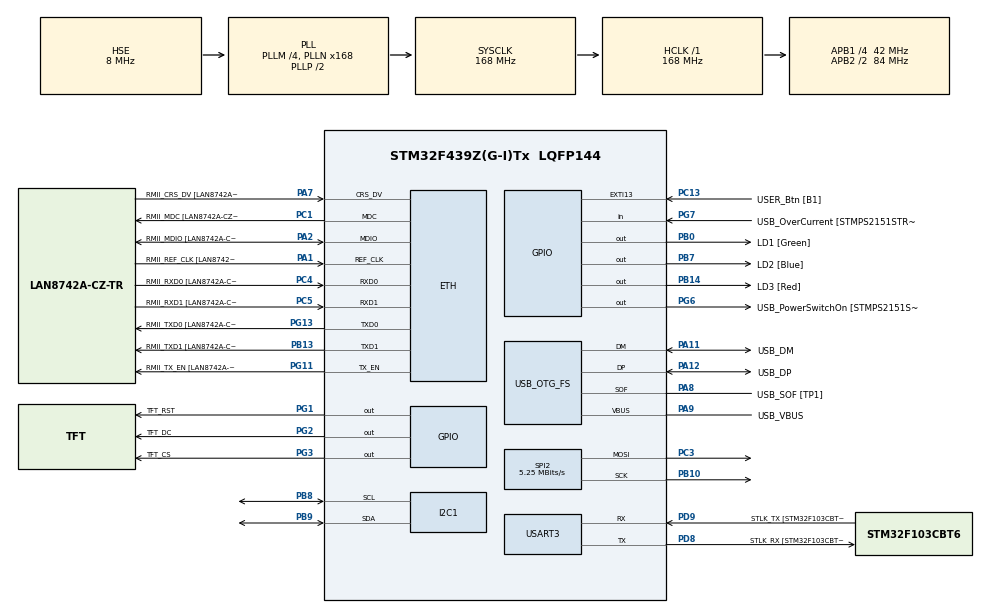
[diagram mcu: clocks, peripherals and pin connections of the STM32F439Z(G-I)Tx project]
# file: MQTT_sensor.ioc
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ETH.MediaInterface=HAL_ETH_RMII_MODE
ETH.PHY_Name=LAN8742A_PHY_ADDRESS
ETH.PHY_Value=0
ETH.PhyAddress=0
LWIP.BSP.number=1
LWIP.LWIP_DNS=1
LWIP.MEM_SIZE=16384
LWIP.TCP_WND=8192
LWIP.Version=v2.1.2_Cube
LWIP0.BSP.STBoard=false
LWIP0.BSP.api=BSP_COMPONENT_DRIVER
LWIP0.BSP.component=LAN8742
LWIP0.BSP.instance=LAN8742
LWIP0.BSP.name=Driver_PHY
LWIP0.BSP.semaphore=S_LAN8742
LWIP0.BSP.solution=LAN8742
Mcu.Family=STM32F4
Mcu.Name=STM32F439Z(G-I)Tx
Mcu.Package=LQFP144
NVIC.PriorityGroup=NVIC_PRIORITYGROUP_4
NVIC.TIM3_IRQn=true\:10\:0\:true\:false\:true\:true\:true\:true
NVIC.USART3_IRQn=true\:0\:0\:false\:false\:true\:true\:true\:true
PA1.GPIO_Label=RMII_REF_CLK [LAN8742A-CZ-TR_REFCLK0]
PA1.Mode=RMII
PA1.Signal=ETH_REF_CLK
PA10.GPIO_Label=USB_ID
PA10.Signal=USB_OTG_FS_ID
PA11.GPIO_Label=USB_DM
PA11.Mode=Device_Only
PA11.Signal=USB_OTG_FS_DM
PA12.GPIO_Label=USB_DP
PA12.Mode=Device_Only
PA12.Signal=USB_OTG_FS_DP
PA13.GPIO_Label=TMS
PA13.Mode=Serial_Wire
PA13.Signal=SYS_JTMS-SWDIO
PA14.GPIO_Label=TCK
PA14.Mode=Serial_Wire
PA14.Signal=SYS_JTCK-SWCLK
PA2.GPIO_Label=RMII_MDIO [LAN8742A-CZ-TR_MDIO]
PA2.Mode=RMII
PA2.Signal=ETH_MDIO
PA7.GPIO_Label=RMII_CRS_DV [LAN8742A-CZ-TR_CRS_DV]
PA7.Mode=RMII
PA7.Signal=ETH_CRS_DV
PA8.GPIO_Label=USB_SOF [TP1]
PA8.Mode=Activate_SOF_FS
PA8.Signal=USB_OTG_FS_SOF
PA9.GPIO_Label=USB_VBUS
PA9.Mode=Activate_VBUS
PA9.Signal=USB_OTG_FS_VBUS
PB0.GPIO_Label=LD1 [Green]
PB0.Signal=GPIO_Output
PB10.Mode=TX_Only_Simplex_Unidirect_Master
PB10.Signal=SPI2_SCK
PB13.GPIO_Label=RMII_TXD1 [LAN8742A-CZ-TR_TXD1]
PB13.Mode=RMII
PB13.Signal=ETH_TXD1
PB14.GPIO_Label=LD3 [Red]
PB14.Signal=GPIO_Output
PB7.GPIO_Label=LD2 [Blue]
PB7.Signal=GPIO_Output
PB8.Mode=I2C
PB8.Signal=I2C1_SCL
PB9.Mode=I2C
PB9.Signal=I2C1_SDA
PC1.GPIO_Label=RMII_MDC [LAN8742A-CZ-TR_MDC]
PC1.Mode=RMII
PC1.Signal=ETH_MDC
PC13.GPIO_Label=USER_Btn [B1]
PC13.Signal=GPXTI13
PC14/OSC32_IN.Mode=LSE-External-Oscillator
PC14/OSC32_IN.Signal=RCC_OSC32_IN
PC15/OSC32_OUT.Mode=LSE-External-Oscillator
PC15/OSC32_OUT.Signal=RCC_OSC32_OUT
PC2.Signal=SPI2_MISO
PC3.Mode=TX_Only_Simplex_Unidirect_Master
PC3.Signal=SPI2_MOSI
PC4.GPIO_Label=RMII_RXD0 [LAN8742A-CZ-TR_RXD0]
PC4.Mode=RMII
PC4.Signal=ETH_RXD0
PC5.GPIO_Label=RMII_RXD1 [LAN8742A-CZ-TR_RXD1]
PC5.Mode=RMII
PC5.Signal=ETH_RXD1
PD8.GPIO_Label=STLK_RX [STM32F103CBT6_PA3]
PD8.Mode=Asynchronous
PD8.Signal=USART3_TX
PD9.GPIO_Label=STLK_TX [STM32F103CBT6_PA2]
PD9.Mode=Asynchronous
PD9.Signal=USART3_RX
PG1.GPIO_Label=TFT_RST
PG1.Signal=GPIO_Output
PG11.GPIO_Label=RMII_TX_EN [LAN8742A-CZ-TR_TXEN]
PG11.Mode=RMII
PG11.Signal=ETH_TX_EN
PG13.GPIO_Label=RMII_TXD0 [LAN8742A-CZ-TR_TXD0]
PG13.Mode=RMII
PG13.Signal=ETH_TXD0
PG2.GPIO_Label=TFT_DC
PG2.Signal=GPIO_Output
PG3.GPIO_Label=TFT_CS
PG3.Signal=GPIO_Output
PG6.GPIO_Label=USB_PowerSwitchOn [STMPS2151STR_EN]
PG6.Signal=GPIO_Output
PG7.GPIO_Label=USB_OverCurrent [STMPS2151STR_FAULT]
PG7.Signal=GPIO_Input
PH0/OSC_IN.GPIO_Label=MCO [STM32F103CBT6_PA8]
PH0/OSC_IN.Mode=HSE-External-Clock-Source
PH0/OSC_IN.Signal=RCC_OSC_IN
PH1/OSC_OUT.Mode=HSE-External-Clock-Source
PH1/OSC_OUT.Signal=RCC_OSC_OUT
ProjectManager.HeapSize=0x200
ProjectManager.StackSize=0x400
ProjectManager.TargetToolchain=STM32CubeIDE
RCC.48MHZClocksFreq_Value=48000000
RCC.AHBFreq_Value=168000000
RCC.APB1CLKDivider=RCC_HCLK_DIV4
RCC.APB1Freq_Value=42000000
RCC.APB1TimFreq_Value=84000000
RCC.APB2CLKDivider=RCC_HCLK_DIV2
RCC.APB2Freq_Value=84000000
RCC.APB2TimCLKDivider=2
RCC.APB2TimFreq_Value=168000000
RCC.CortexFreq_Value=168000000
RCC.HCLKFreq_Value=168000000
RCC.HSE_VALUE=8000000
RCC.HSI_VALUE=16000000
RCC.PLLM=4
RCC.PLLMUL=RCC_PLL_MUL9
RCC.PLLN=168
RCC.PLLQ=7
RCC.PRESCALERUSB=RCC_USBCLKSOURCE_PLL_DIV1_5
RCC.SYSCLKFreq_VALUE=168000000
RCC.SYSCLKSource=RCC_SYSCLKSOURCE_PLLCLK
RCC.SYSCLKSourceVirtual=RCC_SYSCLKSOURCE_PLLCLK
RCC.USBFreq_Value=48000000
RCC.VCOOutputFreq_Value=336000000
SPI2.BaudRatePrescaler=SPI_BAUDRATEPRESCALER_8
SPI2.CalculateBaudRate=5.25 MBits/s
SPI2.Direction=SPI_DIRECTION_2LINES
SPI2.Mode=SPI_MODE_MASTER
SPI2.VirtualType=VM_MASTER
TIM3.Period=999
TIM3.Prescaler=83
USART3.VirtualMode=VM_ASYNC
USB_OTG_FS.VirtualMode=Device_Only
VP_LWIP_VS_Enabled.Mode=Enabled
VP_TIM3_VS_ClockSourceINT.Mode=Internal
board=NUCLEO-F439ZI

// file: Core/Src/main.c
/* USER CODE BEGIN Header */
/**
  ******************************************************************************
  * @file           : main.c
  * @brief          : Main program body
  ******************************************************************************
  * @attention
  *
  * Copyright (c) 2026 STMicroelectronics.
  * All rights reserved.
  *
  * This software is licensed under terms that can be found in the LICENSE file
  * in the root directory of this software component.
  * If no LICENSE file comes with this software, it is provided AS-IS.
  *
  ******************************************************************************
  */
/* USER CODE END Header */
#include "main.h"
#include "lwip.h"

/* USER CODE BEGIN Includes */
#include "lwip/apps/mqtt.h"
#include "lwip/dns.h"
#include "string.h"
#include <stdio.h>

#include "mqtt_app.h"
#include "cli.h"
#include "ili9341.h"

/* USER CODE END Includes */

I2C_HandleTypeDef hi2c1;

SPI_HandleTypeDef hspi2;

TIM_HandleTypeDef htim3;

UART_HandleTypeDef huart3;

PCD_HandleTypeDef hpcd_USB_OTG_FS;

void SystemClock_Config(void);
static void MX_GPIO_Init(void);
static void MX_USART3_UART_Init(void);
static void MX_USB_OTG_FS_PCD_Init(void);
static void MX_TIM3_Init(void);
static void MX_I2C1_Init(void);
static void MX_SPI2_Init(void);

int main(void)
{

  /* MCU Configuration--------------------------------------------------------*/

  /* Reset of all peripherals, Initializes the Flash interface and the Systick. */
  HAL_Init();

  /* USER CODE BEGIN Init */
  __HAL_RCC_GPIOB_CLK_ENABLE();
    GPIO_InitTypeDef GPIO_InitStruct = {0};
    GPIO_InitStruct.Pin = GPIO_PIN_0|GPIO_PIN_7|GPIO_PIN_14;
    GPIO_InitStruct.Mode = GPIO_MODE_OUTPUT_PP;
    GPIO_InitStruct.Pull = GPIO_NOPULL;
    GPIO_InitStruct.Speed = GPIO_SPEED_FREQ_LOW;
    HAL_GPIO_Init(GPIOB, &GPIO_InitStruct);

    HAL_GPIO_WritePin(GPIOB, GPIO_PIN_0|GPIO_PIN_7|GPIO_PIN_14, GPIO_PIN_SET);

  /* USER CODE END Init */

  /* Configure the system clock */
  SystemClock_Config();

  /* Initialize all configured peripherals */
  MX_GPIO_Init();
  MX_USART3_UART_Init();
  MX_USB_OTG_FS_PCD_Init();
  MX_LWIP_Init();
  MX_TIM3_Init();
  MX_I2C1_Init();
  MX_SPI2_Init();
  /* USER CODE BEGIN 2 */

  CLI_Init();
  HAL_TIM_Base_Start_IT(&htim3);

  ILI9341_Init(&hspi2);

      	  ILI9341_FillScreen(ILI9341_BLACK);

      	  ILI9341_DrawText(10, 10, "MQTT Displej - START", ILI9341_YELLOW, ILI9341_BLACK, 2);
      	  ILI9341_DrawText(10, 40, "Cekam na data...", ILI9341_WHITE, ILI9341_BLACK, 2);

  /* USER CODE END 2 */

  /* Infinite loop */
    while (1)
      {

    /* USER CODE BEGIN 3 */
    	if (!(TIM3->DIER & TIM_DIER_UIE)) {
    	        HAL_TIM_Base_Start_IT(&htim3);
    	    }

    	MQTT_Network_Task();
    	CLI_Task();
      }
  /* USER CODE END 3 */
}

void SystemClock_Config(void)
{
  RCC_OscInitTypeDef RCC_OscInitStruct = {0};
  RCC_ClkInitTypeDef RCC_ClkInitStruct = {0};

  /** Configure the main internal regulator output voltage
  */
  __HAL_RCC_PWR_CLK_ENABLE();
  __HAL_PWR_VOLTAGESCALING_CONFIG(PWR_REGULATOR_VOLTAGE_SCALE1);

  /** Initializes the RCC Oscillators according to the specified parameters
  * in the RCC_OscInitTypeDef structure.
  */
  RCC_OscInitStruct.OscillatorType = RCC_OSCILLATORTYPE_HSE;
  RCC_OscInitStruct.HSEState = RCC_HSE_BYPASS;
  RCC_OscInitStruct.PLL.PLLState = RCC_PLL_ON;
  RCC_OscInitStruct.PLL.PLLSource = RCC_PLLSOURCE_HSE;
  RCC_OscInitStruct.PLL.PLLM = 4;
  RCC_OscInitStruct.PLL.PLLN = 168;
  RCC_OscInitStruct.PLL.PLLP = RCC_PLLP_DIV2;
  RCC_OscInitStruct.PLL.PLLQ = 7;
  if (HAL_RCC_OscConfig(&RCC_OscInitStruct) != HAL_OK)
  {
    Error_Handler();
  }

  /** Initializes the CPU, AHB and APB buses clocks
  */
  RCC_ClkInitStruct.ClockType = RCC_CLOCKTYPE_HCLK|RCC_CLOCKTYPE_SYSCLK
                              |RCC_CLOCKTYPE_PCLK1|RCC_CLOCKTYPE_PCLK2;
  RCC_ClkInitStruct.SYSCLKSource = RCC_SYSCLKSOURCE_PLLCLK;
  RCC_ClkInitStruct.AHBCLKDivider = RCC_SYSCLK_DIV1;
  RCC_ClkInitStruct.APB1CLKDivider = RCC_HCLK_DIV4;
  RCC_ClkInitStruct.APB2CLKDivider = RCC_HCLK_DIV2;

  if (HAL_RCC_ClockConfig(&RCC_ClkInitStruct, FLASH_LATENCY_5) != HAL_OK)
  {
    Error_Handler();
  }
}

static void MX_I2C1_Init(void)
{

  hi2c1.Instance = I2C1;
  hi2c1.Init.ClockSpeed = 100000;
  hi2c1.Init.DutyCycle = I2C_DUTYCYCLE_2;
  hi2c1.Init.OwnAddress1 = 0;
  hi2c1.Init.AddressingMode = I2C_ADDRESSINGMODE_7BIT;
  hi2c1.Init.DualAddressMode = I2C_DUALADDRESS_DISABLE;
  hi2c1.Init.OwnAddress2 = 0;
  hi2c1.Init.GeneralCallMode = I2C_GENERALCALL_DISABLE;
  hi2c1.Init.NoStretchMode = I2C_NOSTRETCH_DISABLE;
  if (HAL_I2C_Init(&hi2c1) != HAL_OK)
  {
    Error_Handler();
  }

  /** Configure Analogue filter
  */
  if (HAL_I2CEx_ConfigAnalogFilter(&hi2c1, I2C_ANALOGFILTER_ENABLE) != HAL_OK)
  {
    Error_Handler();
  }

  /** Configure Digital filter
  */
  if (HAL_I2CEx_ConfigDigitalFilter(&hi2c1, 0) != HAL_OK)
  {
    Error_Handler();
  }

}

static void MX_SPI2_Init(void)
{

  /* SPI2 parameter configuration*/
  hspi2.Instance = SPI2;
  hspi2.Init.Mode = SPI_MODE_MASTER;
  hspi2.Init.Direction = SPI_DIRECTION_2LINES;
  hspi2.Init.DataSize = SPI_DATASIZE_8BIT;
  hspi2.Init.CLKPolarity = SPI_POLARITY_LOW;
  hspi2.Init.CLKPhase = SPI_PHASE_1EDGE;
  hspi2.Init.NSS = SPI_NSS_SOFT;
  hspi2.Init.BaudRatePrescaler = SPI_BAUDRATEPRESCALER_8;
  hspi2.Init.FirstBit = SPI_FIRSTBIT_MSB;
  hspi2.Init.TIMode = SPI_TIMODE_DISABLE;
  hspi2.Init.CRCCalculation = SPI_CRCCALCULATION_DISABLE;
  hspi2.Init.CRCPolynomial = 10;
  if (HAL_SPI_Init(&hspi2) != HAL_OK)
  {
    Error_Handler();
  }

}

static void MX_TIM3_Init(void)
{

  TIM_ClockConfigTypeDef sClockSourceConfig = {0};
  TIM_MasterConfigTypeDef sMasterConfig = {0};

  htim3.Instance = TIM3;
  htim3.Init.Prescaler = 83;
  htim3.Init.CounterMode = TIM_COUNTERMODE_UP;
  htim3.Init.Period = 999;
  htim3.Init.ClockDivision = TIM_CLOCKDIVISION_DIV1;
  htim3.Init.AutoReloadPreload = TIM_AUTORELOAD_PRELOAD_DISABLE;
  if (HAL_TIM_Base_Init(&htim3) != HAL_OK)
  {
    Error_Handler();
  }
  sClockSourceConfig.ClockSource = TIM_CLOCKSOURCE_INTERNAL;
  if (HAL_TIM_ConfigClockSource(&htim3, &sClockSourceConfig) != HAL_OK)
  {
    Error_Handler();
  }
  sMasterConfig.MasterOutputTrigger = TIM_TRGO_RESET;
  sMasterConfig.MasterSlaveMode = TIM_MASTERSLAVEMODE_DISABLE;
  if (HAL_TIMEx_MasterConfigSynchronization(&htim3, &sMasterConfig) != HAL_OK)
  {
    Error_Handler();
  }

}

static void MX_USART3_UART_Init(void)
{

  huart3.Instance = USART3;
  huart3.Init.BaudRate = 115200;
  huart3.Init.WordLength = UART_WORDLENGTH_8B;
  huart3.Init.StopBits = UART_STOPBITS_1;
  huart3.Init.Parity = UART_PARITY_NONE;
  huart3.Init.Mode = UART_MODE_TX_RX;
  huart3.Init.HwFlowCtl = UART_HWCONTROL_NONE;
  huart3.Init.OverSampling = UART_OVERSAMPLING_16;
  if (HAL_UART_Init(&huart3) != HAL_OK)
  {
    Error_Handler();
  }

}

static void MX_USB_OTG_FS_PCD_Init(void)
{

  hpcd_USB_OTG_FS.Instance = USB_OTG_FS;
  hpcd_USB_OTG_FS.Init.dev_endpoints = 4;
  hpcd_USB_OTG_FS.Init.speed = PCD_SPEED_FULL;
  hpcd_USB_OTG_FS.Init.dma_enable = DISABLE;
  hpcd_USB_OTG_FS.Init.phy_itface = PCD_PHY_EMBEDDED;
  hpcd_USB_OTG_FS.Init.Sof_enable = ENABLE;
  hpcd_USB_OTG_FS.Init.low_power_enable = DISABLE;
  hpcd_USB_OTG_FS.Init.lpm_enable = DISABLE;
  hpcd_USB_OTG_FS.Init.vbus_sensing_enable = ENABLE;
  hpcd_USB_OTG_FS.Init.use_dedicated_ep1 = DISABLE;
  if (HAL_PCD_Init(&hpcd_USB_OTG_FS) != HAL_OK)
  {
    Error_Handler();
  }

}

static void MX_GPIO_Init(void)
{
  GPIO_InitTypeDef GPIO_InitStruct = {0};

  /* GPIO Ports Clock Enable */
  __HAL_RCC_GPIOC_CLK_ENABLE();
  __HAL_RCC_GPIOH_CLK_ENABLE();
  __HAL_RCC_GPIOA_CLK_ENABLE();
  __HAL_RCC_GPIOB_CLK_ENABLE();
  __HAL_RCC_GPIOG_CLK_ENABLE();
  __HAL_RCC_GPIOD_CLK_ENABLE();

  /*Configure GPIO pin Output Level */
  HAL_GPIO_WritePin(GPIOB, LD1_Pin|LD3_Pin|LD2_Pin, GPIO_PIN_RESET);

  /*Configure GPIO pin Output Level */
  HAL_GPIO_WritePin(GPIOG, TFT_RST_Pin|TFT_DC_Pin|TFT_CS_Pin|USB_PowerSwitchOn_Pin, GPIO_PIN_RESET);

  /*Configure GPIO pin : USER_Btn_Pin */
  GPIO_InitStruct.Pin = USER_Btn_Pin;
  GPIO_InitStruct.Mode = GPIO_MODE_IT_RISING;
  GPIO_InitStruct.Pull = GPIO_NOPULL;
  HAL_GPIO_Init(USER_Btn_GPIO_Port, &GPIO_InitStruct);

  /*Configure GPIO pins : LD1_Pin LD3_Pin LD2_Pin */
  GPIO_InitStruct.Pin = LD1_Pin|LD3_Pin|LD2_Pin;
  GPIO_InitStruct.Mode = GPIO_MODE_OUTPUT_PP;
  GPIO_InitStruct.Pull = GPIO_NOPULL;
  GPIO_InitStruct.Speed = GPIO_SPEED_FREQ_LOW;
  HAL_GPIO_Init(GPIOB, &GPIO_InitStruct);

  /*Configure GPIO pins : TFT_RST_Pin TFT_DC_Pin TFT_CS_Pin USB_PowerSwitchOn_Pin */
  GPIO_InitStruct.Pin = TFT_RST_Pin|TFT_DC_Pin|TFT_CS_Pin|USB_PowerSwitchOn_Pin;
  GPIO_InitStruct.Mode = GPIO_MODE_OUTPUT_PP;
  GPIO_InitStruct.Pull = GPIO_NOPULL;
  GPIO_InitStruct.Speed = GPIO_SPEED_FREQ_LOW;
  HAL_GPIO_Init(GPIOG, &GPIO_InitStruct);

  /*Configure GPIO pin : USB_OverCurrent_Pin */
  GPIO_InitStruct.Pin = USB_OverCurrent_Pin;
  GPIO_InitStruct.Mode = GPIO_MODE_INPUT;
  GPIO_InitStruct.Pull = GPIO_NOPULL;
  HAL_GPIO_Init(USB_OverCurrent_GPIO_Port, &GPIO_InitStruct);

}

/* USER CODE BEGIN 4 */
// Funkce, kterou procesor volá automaticky při přetečení časovače (nastaveno na 1 ms)

/* USER CODE END 4 */

void Error_Handler(void)
{
  __disable_irq();
  while (1)
  {
  }
}
